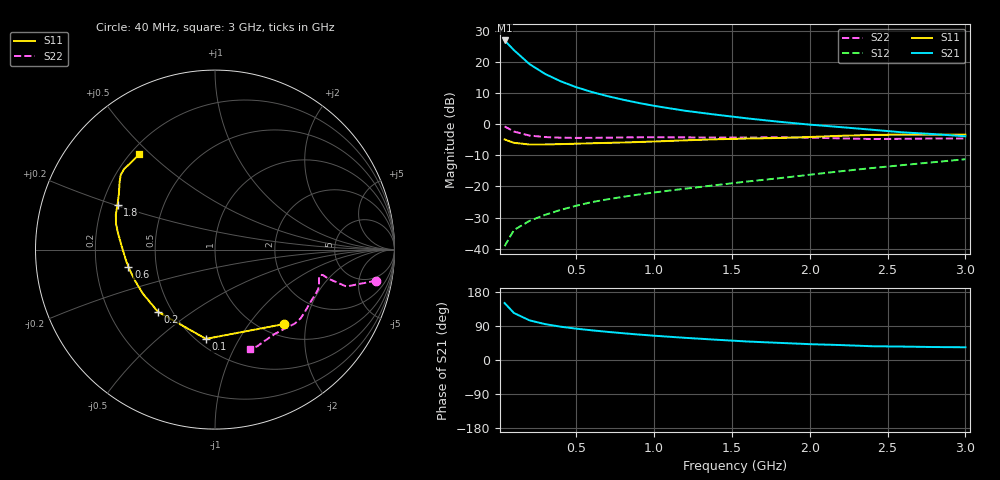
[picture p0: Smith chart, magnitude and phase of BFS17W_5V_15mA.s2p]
! Filename:  BFS17WD.S2P  Version:  4.0
! Philips part #: BFS17W  Date: Jun 1994
! Bias condition: Vce=5V, Ic=15mA
#  MHz  S  MA  R  50
! Freq  S11  S21  S12  S22  !GUM [dB]
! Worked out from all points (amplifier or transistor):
!   21 points, 40 MHz to 3 GHz, reference 50 ohm
!   highest |S21| = 26.8 dB at 40 MHz (marker M1)
!   |S21| within 3 dB of that: start of sweep to 97.95 MHz
!   unconditionally stable (mu >= 1): 325.1 MHz to 2.07 GHz
!   at 300 MHz: K = 0.98, MSG = 22.6 dB, |S12| = -29.1 dB
!   at 1 GHz: K = 1.20, MAG = 11.2 dB, |S12| = -21.9 dB
!   at 3 GHz: K = 0.95, MSG = 3.7 dB, |S12| = -11.3 dB
!   S11 on the Smith chart (normalised r, x): 40 MHz: 1.24, -1.51; 100 MHz: 0.56, -0.74; 200 MHz: 0.42, -0.37; 600 MHz: 0.34, -0.09; 1.8 GHz: 0.26, +0.21; 3 GHz: 0.23, +0.46
40  0.566 -47.1  21.93 150.2  0.011 71.1  0.915 -10.9
100  0.5 -95.8  15.33 124.0  0.02 58.8  0.76 -15.7
200  0.47 -132.6  9.156 104.6  0.028 57.9  0.653 -14.4
300  0.471 -148.7  6.371 94.7  0.035 59.9  0.619 -13.3
400  0.477 -158.0  4.854 87.9  0.042 62.8  0.605 -13.4
500  0.484 -164.0  3.905 82.7  0.049 65.0  0.6 -14.3
600  0.492 -168.9  3.27 78.3  0.056 66.8  0.601 -15.5
700  0.499 -172.9  2.809 74.3  0.062 68.3  0.605 -16.8
800  0.506 -176.6  2.46 70.7  0.068 69.9  0.61 -18.2
900  0.515 179.8  2.184 67.2  0.074 71.4  0.614 -19.6
1000  0.525 176.4  1.961 64.1  0.08 72.9  0.616 -21.1
1200  0.548 170.4  1.633 58.5  0.092 76.1  0.611 -24.6
1400  0.57 165.4  1.412 53.5  0.105 79.5  0.607 -29.3
1600  0.586 160.5  1.232 48.8  0.12 82.5  0.609 -34.4
1800  0.598 155.2  1.091 45.3  0.135 85.4  0.612 -38.7
2000  0.62 149.7  0.979 41.8  0.154 87.7  0.606 -42.9
2200  0.648 145.2  0.893 39.4  0.175 89.4  0.589 -48.0
2400  0.67 141.7  0.811 36.3  0.197 90.4  0.576 -54.6
2600  0.677 138.4  0.735 35.4  0.22 90.5  0.579 -61.3
2800  0.674 133.7  0.69 34.2  0.245 90.6  0.588 -66.5
3000  0.679 128.3  0.636 33.6  0.273 90.3  0.586 -70.7
